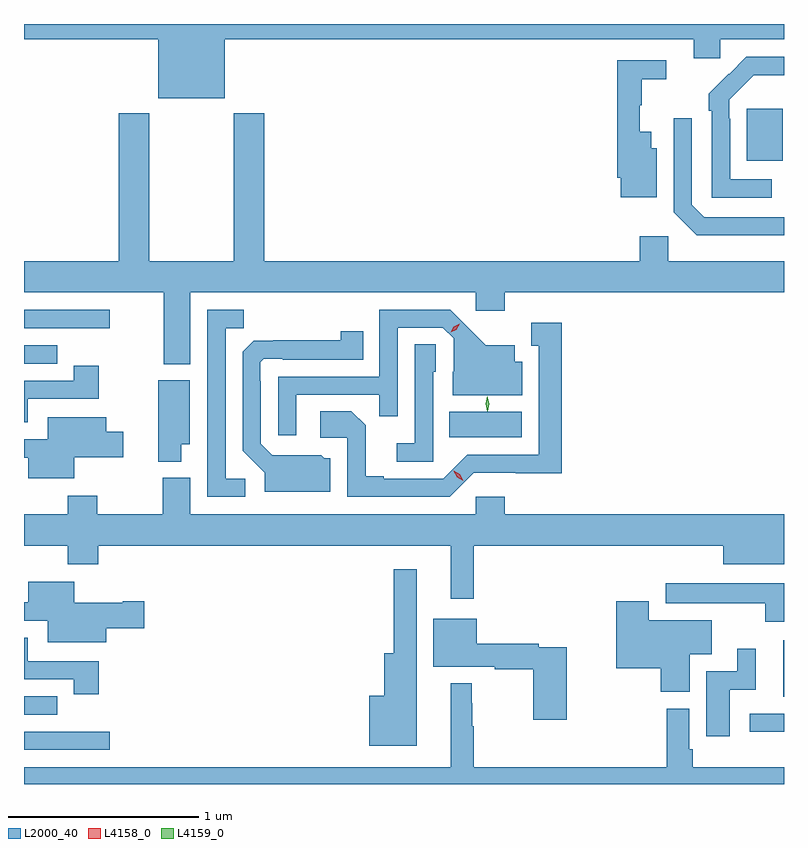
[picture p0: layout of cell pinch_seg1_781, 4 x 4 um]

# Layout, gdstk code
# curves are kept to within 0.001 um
import gdstk
lib = gdstk.Library(unit=1e-6, precision=1e-09)
def R(c, l, rs):  # rectangles x0, y0, x1, y1
    for r in rs: c.add(gdstk.rectangle(r[:2], r[2:], *l))
def P(c, l, *ps):  # polygons
    for p in ps: c.add(gdstk.Polygon(p, *l))
L2000_40 = (2000, 40)
L4158_0 = (4158, 0)
L4159_0 = (4159, 0)

pinch_seg1_781 = lib.new_cell('pinch_seg1_781')
R(pinch_seg1_781, L2000_40, [(371.338,573.3,371.788,573.396), (375.159,573.395,375.338,573.492), (371.338,573.486,371.512,573.582), (375.335,573.581,375.338,573.877), (373.576,574.946,373.957,575.08), (371.338,575.334,371.512,575.43), (371.338,575.52,371.788,575.616), (375.143,576.401,375.331,576.676)])
P(pinch_seg1_781, L2000_40, [(372.394,577.04),(374.864,577.04),(374.864,576.942),(375.003,576.942),(375.003,577.04),(375.338,577.04),(375.338,577.121),(371.338,577.121),(371.338,577.04),(372.044,577.04),(372.044,576.731),(372.394,576.731)],
  [(375.274,576.303),(375.054,576.303),(375.054,576.623),(375.051,576.623),(375.051,576.723),(375.18,576.852),(375.338,576.852),(375.338,576.948),(375.14,576.948),(374.943,576.753),(374.943,576.665),(374.958,576.665),(374.958,576.207),(375.274,576.207)],
  [(374.668,576.466),(374.638,576.466),(374.638,576.553),(374.579,576.553),(374.579,576.693),(374.59,576.693),(374.59,576.829),(374.719,576.829),(374.719,576.93),(374.461,576.93),(374.461,576.313),(374.48,576.313),(374.48,576.209),(374.668,576.209)],
  [(372.214,575.708),(373.716,575.708),(373.716,575.613),(373.868,575.613),(373.868,575.708),(375.338,575.708),(375.338,575.872),(374.73,575.872),(374.73,576.004),(374.579,576.004),(374.579,575.872),(372.602,575.872),(372.602,576.652),(372.442,576.652),(372.442,575.872),(371.997,575.872),(371.997,576.652),(371.837,576.652),(371.837,575.872),(371.338,575.872),(371.338,575.708),(372.074,575.708),(372.074,575.33),(372.214,575.33)],
  [(375.338,576.105),(374.919,576.105),(374.853,576.171),(374.853,576.625),(374.757,576.625),(374.757,576.129),(374.878,576.008),(375.338,576.008)],
  [(372.771,575.169),(373.207,575.169),(373.207,575.056),(373.305,575.056),(373.305,575.523),(373.542,575.523),(373.599,575.466),(373.599,575.292),(373.595,575.292),(373.595,575.168),(373.96,575.168),(373.96,575.344),(373.921,575.344),(373.921,575.431),(373.769,575.431),(373.582,575.616),(373.209,575.616),(373.209,575.265),(372.675,575.265),(372.675,574.956),(372.771,574.956)],
  [(372.502,574.728),(372.399,574.728),(372.399,575.521),(372.495,575.521),(372.495,575.616),(372.303,575.616),(372.303,574.632),(372.502,574.632)],
  [(373.704,574.758),(374.167,574.757),(374.167,575.548),(374.009,575.548),(374.009,575.427),(374.048,575.427),(374.048,574.854),(373.671,574.854),(373.545,574.728),(373.231,574.728),(373.231,574.741),(373.137,574.741),(373.137,575.008),(373.061,575.084),(372.897,575.084),(372.897,574.944),(373.038,574.944),(373.038,574.632),(373.578,574.632)],
  [(372.949,574.836),(372.918,574.836),(372.902,574.852),(372.645,574.851),(372.585,574.911),(372.585,575.24),(372.582,575.24),(372.582,575.34),(372.6,575.358),(372.7,575.358),(372.7,575.355),(373.124,575.355),(373.124,575.503),(373.006,575.503),(373.006,575.456),(372.548,575.455),(372.489,575.396),(372.489,574.874),(372.605,574.758),(372.605,574.658),(372.949,574.658)],
  [(373.491,575.292),(373.506,575.292),(373.506,575.435),(373.395,575.435),(373.395,574.915),(373.299,574.915),(373.299,574.818),(373.491,574.818)],
  [(371.359,575.148),(371.731,575.148),(371.731,575.323),(371.6,575.323),(371.6,575.244),(371.338,575.244),(371.338,575.024),(371.359,575.024)],
  [(372.166,574.91),(372.211,574.91),(372.211,575.245),(372.044,575.245),(372.044,574.817),(372.166,574.817)],
  [(371.602,574.841),(371.86,574.841),(371.86,574.976),(371.77,574.976),(371.77,575.05),(371.462,575.05),(371.462,574.935),(371.338,574.935),(371.338,574.839),(371.36,574.839),(371.36,574.73),(371.602,574.73)],
  [(373.705,574.376),(375.017,574.376),(375.017,574.277),(375.338,574.277),(375.338,574.54),(373.868,574.54),(373.868,574.633),(373.716,574.633),(373.716,574.54),(372.214,574.54),(372.214,574.732),(372.067,574.732),(372.067,574.54),(371.724,574.54),(371.724,574.639),(371.569,574.639),(371.569,574.54),(371.338,574.54),(371.338,574.376),(371.569,574.376),(371.569,574.277),(371.729,574.277),(371.729,574.376),(373.583,574.376),(373.583,574.095),(373.705,574.095)],
  [(373.405,574.252),(373.284,574.252),(373.284,573.808),(373.235,573.808),(373.235,573.586),(373.154,573.586),(373.154,573.323),(373.405,573.323)],
  [(371.77,573.941),(371.971,573.941),(371.971,574.083),(371.858,574.083),(371.858,574.075),(371.602,574.075),(371.602,574.186),(371.36,574.186),(371.36,574.077),(371.338,574.077),(371.338,573.981),(371.462,573.981),(371.462,573.866),(371.77,573.866)],
  [(375.338,574.177),(374.715,574.177),(374.715,574.073),(375.239,574.073),(375.239,573.975),(375.338,573.975)],
  [(374.842,573.803),(374.959,573.803),(374.959,573.982),(374.626,573.982),(374.626,574.084),(374.456,574.084),(374.456,573.731),(374.69,573.731),(374.69,573.606),(374.842,573.606)],
  [(374.195,573.84),(374.048,573.84),(374.048,573.86),(373.72,573.86),(373.72,573.991),(373.493,573.991),(373.493,573.737),(373.816,573.737),(373.816,573.724),(374.017,573.724),(374.017,573.459),(374.195,573.459)],
  [(371.731,573.768),(371.359,573.768),(371.359,573.892),(371.338,573.892),(371.338,573.672),(371.6,573.672),(371.6,573.594),(371.731,573.594)],
  [(375.052,573.618),(375.19,573.618),(375.19,573.832),(375.092,573.832),(375.092,573.714),(374.93,573.714),(374.93,573.372),(375.052,573.372)],
  [(371.338,573.121),(375.338,573.121),(375.338,573.208),(374.858,573.208),(374.858,573.304),(374.838,573.304),(374.838,573.517),(374.722,573.517),(374.722,573.208),(373.705,573.208),(373.705,573.425),(373.697,573.425),(373.697,573.545),(373.694,573.545),(373.694,573.652),(373.583,573.652),(373.583,573.208),(371.338,573.208)])
P(pinch_seg1_781, L4158_0, [(373.649,574.717),(373.617,574.736),(373.599,574.768),(373.599,574.769),(373.599,574.769),(373.631,574.75),(373.649,574.718),(373.649,574.717)],
  [(373.583,575.498),(373.583,575.498),(373.6,575.528),(373.631,575.543),(373.631,575.543),(373.631,575.543),(373.614,575.513),(373.584,575.498)])
P(pinch_seg1_781, L4159_0, [(373.777,575.083),(373.777,575.083),(373.767,575.122),(373.777,575.161),(373.777,575.162),(373.777,575.161),(373.787,575.122),(373.778,575.083)])

lib.write_gds('pinch_seg1_781.gds')
